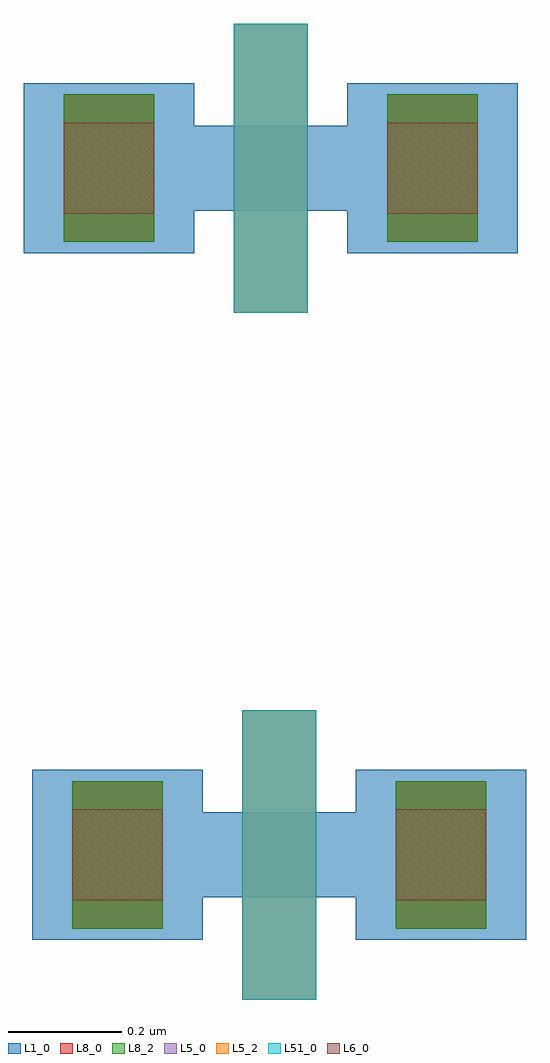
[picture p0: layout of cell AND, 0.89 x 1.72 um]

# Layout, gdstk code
import gdstk
lib = gdstk.Library(unit=1e-6, precision=1e-09)
def R(c, l, rs):  # rectangles x0, y0, x1, y1
    for r in rs: c.add(gdstk.rectangle(r[:2], r[2:], *l))
L1_0 = (1, 0)
L5_0 = (5, 0)
L5_2 = (5, 2)
L6_0 = (6, 0)
L8_0 = (8, 0)
L8_2 = (8, 2)
L51_0 = (51, 0)

nmos = lib.new_cell('nmos')
R(nmos, L1_0, [(0,0,0.3,0.3), (0.57,0,0.87,0.3), (0,0.075,0.87,0.225)])
R(nmos, L5_0, [(0.37,-0.105,0.5,0.405)])
R(nmos, L5_2, [(0.37,-0.105,0.5,0.405)])
R(nmos, L6_0, [(0.07,0.07,0.23,0.23), (0.64,0.07,0.8,0.23)])
R(nmos, L8_0, [(0.07,0.02,0.23,0.28), (0.64,0.02,0.8,0.28)])
R(nmos, L8_2, [(0.07,0.02,0.23,0.28), (0.64,0.02,0.8,0.28)])
R(nmos, L51_0, [(0.37,-0.105,0.5,0.405)])
nmos.add(gdstk.Label('nmos', (0.435,0.15), layer=63, texttype=0))
nmos.add(gdstk.Label('nmos', (0.435,0.15), layer=51, texttype=0))

and_ = lib.new_cell('AND')
and_.add(gdstk.Reference(nmos, (3.34,-0.48)))
and_.add(gdstk.Reference(nmos, (3.355,-1.69)))

lib.write_gds('AND.gds')
